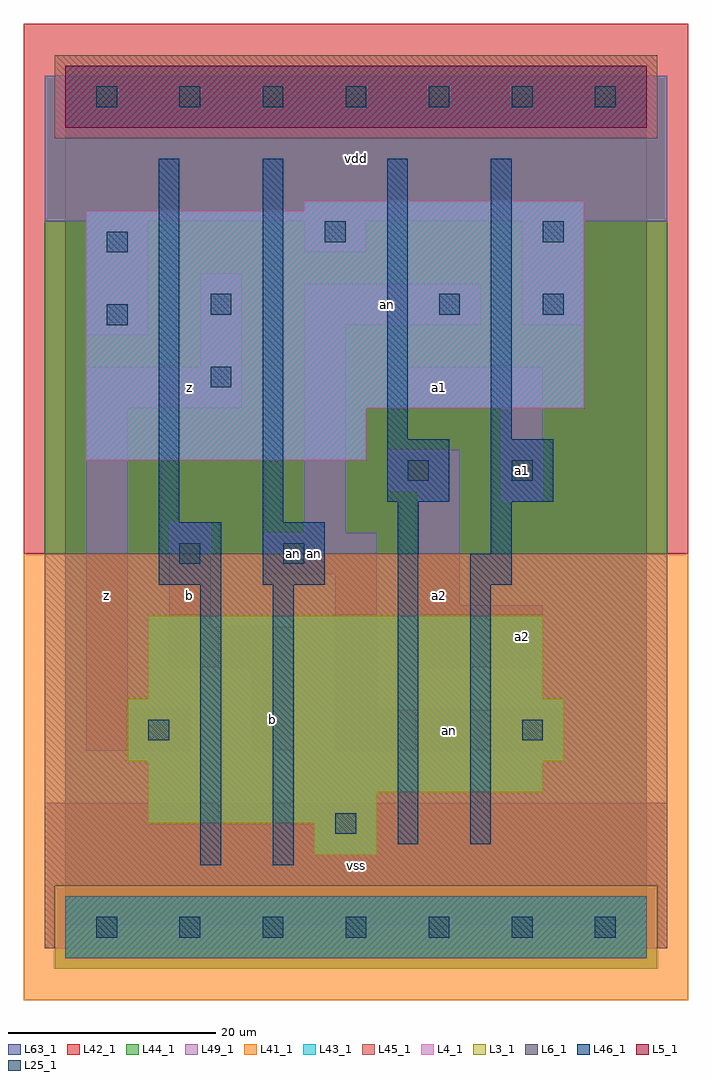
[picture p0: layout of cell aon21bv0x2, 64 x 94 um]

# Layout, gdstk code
import gdstk
lib = gdstk.Library(unit=1e-6, precision=1e-09)
def R(c, l, rs):  # rectangles x0, y0, x1, y1
    for r in rs: c.add(gdstk.rectangle(r[:2], r[2:], *l))
def A(c, l, x, y, w, h, nx, ny, dx, dy):  # array of equal rectangles
    R(c, l, [(x+i*dx, y+j*dy, x+i*dx+w, y+j*dy+h) for i in range(nx) for j in range(ny)])
L3_1 = (3, 1)
L4_1 = (4, 1)
L5_1 = (5, 1)
L6_1 = (6, 1)
L25_1 = (25, 1)
L41_1 = (41, 1)
L42_1 = (42, 1)
L43_1 = (43, 1)
L44_1 = (44, 1)
L45_1 = (45, 1)
L46_1 = (46, 1)
L49_1 = (49, 1)
L63_1 = (63, 1)

aon21bv0x2 = lib.new_cell('aon21bv0x2')
R(aon21bv0x2, L3_1, [(24,7,30,10), (8,10,30,13), (8,13,46,16), (6,16,48,22), (8,22,46,30)])
R(aon21bv0x2, L4_1, [(2,45,29,50), (2,50,50,69), (23,69,50,70)])
R(aon21bv0x2, L5_1, [(0,77,56,83)])
R(aon21bv0x2, L6_1, [(0,-3,56,3), (0,-3,56,3)])
A(aon21bv0x2, L25_1, 3, -1, 2, 2, 7, 2, 8, 80)
R(aon21bv0x2, L25_1, [(26,9,28,11), (8,18,10,20), (44,18,46,20), (11,35,13,37), (21,35,23,37), (33,43,35,45), (43,43,45,45), (14,52,16,54), (4,58,6,60), (14,59,16,61), (36,59,38,61), (46,59,48,61), (4,65,6,67), (25,66,27,68), (46,66,48,68)])
R(aon21bv0x2, L41_1, [(-4,-7,60,36)])
R(aon21bv0x2, L42_1, [(-4,36,60,87)])
R(aon21bv0x2, L43_1, [(0,-3,56,3), (24,7,30,10), (8,10,30,13), (8,13,46,16), (6,16,48,22), (8,22,46,30), (2,45,29,50), (2,50,50,69), (23,69,50,70), (0,77,56,83)])
R(aon21bv0x2, L44_1, [(-1,-4,57,4), (-2,36,58,76), (-2,76,-1,82), (57,76,58,82)])
R(aon21bv0x2, L45_1, [(-2,-2,-1,4), (57,-2,58,4), (-2,4,58,36), (-1,76,57,84)])
R(aon21bv0x2, L46_1, [(13,6,15,33), (20,6,22,33), (32,8,34,41), (39,8,41,33), (9,33,15,39), (19,33,25,39), (39,33,43,36), (41,36,43,41), (9,39,11,74), (19,39,21,74), (31,41,37,47), (41,41,47,47), (31,47,33,74), (41,47,43,74)])
R(aon21bv0x2, L49_1, [(-2,-2,58,12), (2,17,12,21), (18,17,22,25), (26,17,48,21), (2,21,6,50), (26,21,30,34), (10,25,22,29), (34,25,46,31), (10,29,14,39), (34,31,38,42), (19,34,30,38), (23,38,27,58), (42,41,46,50), (31,42,38,46), (2,50,17,54), (33,50,46,54), (13,54,17,63), (2,57,8,68), (23,58,40,62), (44,58,50,68), (23,65,29,68), (-2,68,58,82)])
R(aon21bv0x2, L63_1, [(0,0,56,80)])
aon21bv0x2.add(gdstk.Label('an', (22,36), layer=49, texttype=1))
aon21bv0x2.add(gdstk.Label('z', (4,32), layer=49, texttype=1))
aon21bv0x2.add(gdstk.Label('b', (20,20), layer=49, texttype=1))
aon21bv0x2.add(gdstk.Label('b', (12,32), layer=49, texttype=1))
aon21bv0x2.add(gdstk.Label('z', (12,52), layer=49, texttype=1))
aon21bv0x2.add(gdstk.Label('vss', (28,6), layer=49, texttype=1))
aon21bv0x2.add(gdstk.Label('an', (24,36), layer=49, texttype=1))
aon21bv0x2.add(gdstk.Label('a2', (36,32), layer=49, texttype=1))
aon21bv0x2.add(gdstk.Label('a1', (36,52), layer=49, texttype=1))
aon21bv0x2.add(gdstk.Label('an', (31,60), layer=49, texttype=1))
aon21bv0x2.add(gdstk.Label('vdd', (28,74), layer=49, texttype=1))
aon21bv0x2.add(gdstk.Label('an', (37,19), layer=49, texttype=1))
aon21bv0x2.add(gdstk.Label('a2', (44,28), layer=49, texttype=1))
aon21bv0x2.add(gdstk.Label('a1', (44,44), layer=49, texttype=1))

lib.write_gds('aon21bv0x2.gds')
